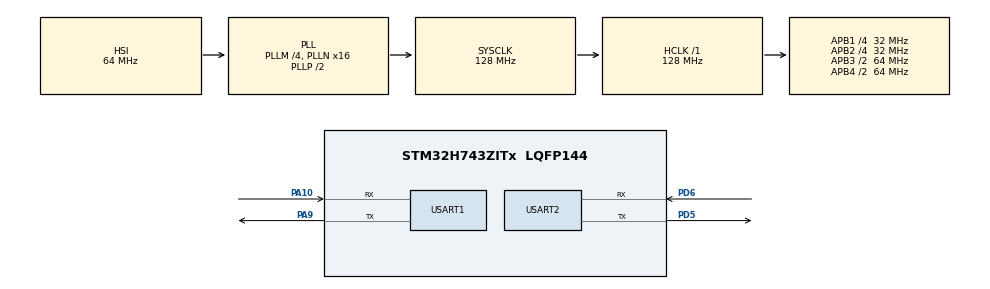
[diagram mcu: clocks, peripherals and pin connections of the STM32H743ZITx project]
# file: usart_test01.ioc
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CORTEX_M7.default_mode_Activation=1
Mcu.Family=STM32H7
Mcu.Name=STM32H743ZITx
Mcu.Package=LQFP144
NVIC.PriorityGroup=NVIC_PRIORITYGROUP_4
PA10.Mode=Asynchronous
PA10.Signal=USART1_RX
PA9.Mode=Asynchronous
PA9.Signal=USART1_TX
PD5.Mode=Asynchronous
PD5.Signal=USART2_TX
PD6.Mode=Asynchronous
PD6.Signal=USART2_RX
PH0-OSC_IN\ (PH0).Mode=HSE-External-Oscillator
PH0-OSC_IN\ (PH0).Signal=RCC_OSC_IN
PH1-OSC_OUT\ (PH1).Mode=HSE-External-Oscillator
PH1-OSC_OUT\ (PH1).Signal=RCC_OSC_OUT
ProjectManager.HeapSize=0x200
ProjectManager.StackSize=0x400
ProjectManager.TargetToolchain=MDK-ARM V5.32
RCC.ADCFreq_Value=129000000
RCC.APB1Freq_Value=32000000
RCC.APB2Freq_Value=32000000
RCC.APB3Freq_Value=64000000
RCC.APB4Freq_Value=64000000
RCC.CortexFreq_Value=128000000
RCC.D1PPRE=RCC_APB3_DIV2
RCC.D2PPRE1=RCC_APB1_DIV4
RCC.D2PPRE2=RCC_APB2_DIV4
RCC.D3PPRE=RCC_APB4_DIV2
RCC.DIVM1=4
RCC.DIVN1=16
RCC.HCLKFreq_Value=128000000
RCC.PLL2FRACN=0
RCC.PLL3FRACN=0
RCC.PLLFRACN=0
RCC.SYSCLKFreq_VALUE=128000000
RCC.SYSCLKSource=RCC_SYSCLKSOURCE_PLLCLK
RCC.USBFreq_Value=128000000
USART1.VirtualMode-Asynchronous=VM_ASYNC
USART2.VirtualMode-Asynchronous=VM_ASYNC
VP_MEMORYMAP_VS_MEMORYMAP.Mode=CurAppReg
board=custom

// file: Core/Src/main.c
/* USER CODE BEGIN Header */
/**
  ******************************************************************************
  * @file           : main.c
  * @brief          : Main program body
  ******************************************************************************
  * @attention
  *
  * Copyright (c) 2026 STMicroelectronics.
  * All rights reserved.
  *
  * This software is licensed under terms that can be found in the LICENSE file
  * in the root directory of this software component.
  * If no LICENSE file comes with this software, it is provided AS-IS.
  *
  ******************************************************************************
  */
/* USER CODE END Header */
#include "main.h"
#include "memorymap.h"
#include "usart.h"
#include "gpio.h"

/* USER CODE BEGIN Includes */
#include <stdarg.h>
#include <stdio.h>
#include <string.h>
/* USER CODE END Includes */

/* USER CODE BEGIN PD */
/* ==================================================================
   串口测试固件 —— 给 SerialLab / VOFA+ / 任意串口助手做「可解析数据源」
   接口参数（上位机必须与这里一致）：
     波特率 115200 · 数据位 8 · 无校验 · 停止位 1 · 无流控   (8-N-1)
     输出编码：纯 ASCII（不带中文），每行以 CR LF 结尾
     数据格式：key=value，同一行多组用逗号分隔，一行一个采样点
   引脚：
     USART1  PA9 = TX   PA10 = RX     <- 默认用这个
     USART2  PD5 = TX   PD6 = RX
   ================================================================== */

/* 调试串口：默认 USART1；想只换到 USART2 就把 huart1 改成 huart2 */
#define DBG_UART        (&huart1)

/* 改成 0 可关掉「双路同发」，只走 DBG_UART。
   为什么默认开：测试固件最容易卡住的失败模式就是「线接在 USART2 上，
   而固件只往 USART1 打」——上位机那时只会收到悬空引脚的噪声，
   看起来像「固件没跑」或「波特率不对」，排查会绕很大一圈。
   两路同发时，只有真正连着电脑的那一路会被读到，不会互相干扰。 */
#define DBG_UART_BOTH   1

/* 原样回发（验证 RX 通路 / 网页端「发送」）改成了**运行时开关**：
   以前要改这个宏再重编译，现在直接发一行 `set echo=1`（见下面的在线调参说明）。
   少一个编译期开关 = 少一处「改了宏忘了重烧」的坑。 */

/* 打印周期（ms）。10 Hz 足够绘图，单行也短，对解析器压力小。 */
#define DBG_PERIOD_MS   100

/* ==================================================================
   在线调参（RX 通路）—— 为什么值得有：
     改一个参数原本要「重编译 + 烧录 + 人工点 Keil」，一轮半分钟起；
     支持串口改参数之后，一轮迭代变成「发一行 → 立刻看数据」，
     AI 也才可能自己扫参（否则每改一次都要人参与烧录）。
   命令（行尾给 \n 即生效；大小写不敏感只看首字母的写法见 uart_cmd）：
     set period=200      打印周期 ms（10..5000）
     set step=100        位置阶跃周期，单位「拍」（1..10000）
     set curdiv=4        电流 = 位置误差 / 这个数（1..1000，越大电流越小）
     set poslo=1000      阶跃低目标（编码器计数）
     set poshi=3500      阶跃高目标
     set echo=1          1 = 把收到的字节原样回发（纯 RX 通路/接线自检）
     get                 读回全部参数
   回包一律是「key=value 且值都是数字」的一行 —— 例如
     cmd_get=1,period=100,step=50,curdiv=2,poslo=500,poshi=4000
   ⚠ 值刻意全用数字：一旦出现 name=period 这种非数值对，上位机就会
     建出一个永远没有数值的通道（甚至算进解析失败），反而污染判据。
   ⚠ RX 必须走中断：主循环每 100ms 才转一圈，而 115200 下一个字节只要 87us，
     轮询必然丢字节（收不全命令 = 调参看起来「没反应」）。
   ================================================================== */
#define RX_RING_SZ      128           /* 中断写入、主循环排空 */
#define RX_LINE_MAX     64
/* USER CODE END PD */

/* USER CODE BEGIN PV */
static uint32_t dbg_next_ms = 0;      /* 下一次打印的时刻（HAL_GetTick 口径） */
static int32_t  dbg_pos     = 500;    /* 位置环当前值（模拟编码器计数） */

/* ---- 可在线改的参数（`set` 改的就是这几个；默认值 = 出厂行为）---- */
static volatile uint32_t g_period_ms  = DBG_PERIOD_MS;
static volatile uint32_t g_step_ticks = 50U;    /* 位置阶跃周期（拍） */
static volatile int32_t  g_cur_div    = 2;      /* 电流 = err / g_cur_div */
static volatile int32_t  g_pos_lo     = 500;
static volatile int32_t  g_pos_hi     = 4000;
static volatile int32_t  g_echo       = 0;      /* 1 = 原样回发收到的字节 */
static volatile uint32_t g_rx_bytes   = 0;      /* RX 收到的总字节数（自诊断，随数据行上报） */

/* ---- RX：中断只负责把字节塞进环形缓冲，攒行与回显都在主循环 ----
   （中断里绝不调用阻塞发送：HAL_UART_Transmit 带超时，在 ISR 里会把中断拖死） */
static volatile uint8_t  g_rx_ring[RX_RING_SZ];
static volatile uint16_t g_rx_head = 0;         /* 中断写 */
static volatile uint16_t g_rx_tail = 0;         /* 主循环读 */
static volatile uint8_t  g_rx1_byte = 0;
static volatile uint8_t  g_rx2_byte = 0;

static char    rx_line[RX_LINE_MAX];
static uint16_t rx_len = 0;
/* USER CODE END PV */

void SystemClock_Config(void);
static void MPU_Config(void);

/* USER CODE BEGIN 0 */
/* ------------------------------------------------------------------
   极简调试打印：不重定向 printf、不依赖半主机（semihosting）。
   直接用 HAL 阻塞发送，烧进去就能从串口出字。
   ⚠ 本工程 Keil 勾了 MicroLIB（<useUlib>1</useUlib>），MicroLIB 的
     vsnprintf 不支持 %f —— 所以一律用整数 + 手工小数点，别改成 %f。
   输出格式与 SerialLab 的 FireWater 预设一致（seps = ["=", ":"]）。
   ------------------------------------------------------------------ */
static char dbg_buf[128];

static void DBG(const char *fmt, ...)
{
  va_list ap;
  int n;

  va_start(ap, fmt);
  n = vsnprintf(dbg_buf, sizeof(dbg_buf), fmt, ap);
  va_end(ap);

  if (n <= 0)
  {
    return;
  }
  if (n > (int)sizeof(dbg_buf) - 1)
  {
    n = (int)sizeof(dbg_buf) - 1;     /* 截断，绝不发出缓冲区之外的字节 */
  }
  (void)HAL_UART_Transmit(DBG_UART, (uint8_t *)dbg_buf, (uint16_t)n, 200);
#if DBG_UART_BOTH
  /* 同一份数据再走另一路：线接在 USART1 还是 USART2 都能读到。
     两路是两个独立外设、各自 115200，不会互相拖慢；只有实连电脑的那路会被看到。
     （若 DBG_UART 已被改成 huart2，就不要重复发第二遍。） */
  if (DBG_UART != &huart2)
  {
    (void)HAL_UART_Transmit(&huart2, (uint8_t *)dbg_buf, (uint16_t)n, 200);
  }
#endif
}
/* ------------------------------------------------------------------
   RX：中断侧只把字节塞进环形缓冲，攒行与回显都留给主循环。
   为什么中断里不发数据：HAL_UART_Transmit 是带超时的阻塞调用，
   在 ISR 里用会把中断拖住（而且与主循环的打印抢同一个外设）。
   ------------------------------------------------------------------ */
static void rx_isr_push(uint8_t b)
{
  uint16_t next = (uint16_t)((g_rx_head + 1U) % RX_RING_SZ);
  g_rx_bytes++;                       /* 自诊断：RX 上到底有没有字节进来 */
  if (next != g_rx_tail)              /* 满了就丢最新字节，绝不覆盖还没读走的数据 */
  {
    g_rx_ring[g_rx_head] = b;
    g_rx_head = next;
  }
}

/* ------------------------------------------------------------------
   中断向量到 HAL 的分发。
   ⚠ 本工程的 .ioc **没有勾** NVIC 里的 USART1/USART2 全局中断，于是
     CubeMX 既没在 MspInit 里 HAL_NVIC_EnableIRQ，也没在 stm32h7xx_it.c 里
     生成这两个处理函数 —— 结果 HAL_UART_Receive_IT 永远等不到回调，
     表现是「主机发出去了（桥上 ok=true），但设备像没收到一样」。
     这里手工补齐。若以后在 CubeMX 里勾上「USART1 global interrupt」，
     ⚠ 必须保持**强定义、不加 __weak**：启动文件 startup_stm32h743xx.s 里的同名函数
     本身就是 weak 桩，一旦这里也写 __weak，链接器会在两个 weak 之间选启动文件那个
     （通常是死循环），RX 一收字节就挂 —— 实测踩过，编译日志会报 L6439W。
     ⚠ 另：**不要在 CubeMX 里勾 USART 全局中断**。本工程的中断使能与处理函数都写在
     USER CODE 里（CubeMX 不会动 USER CODE），不勾它 CubeMX 就不会生成同名函数，
     也就永远不会重复定义。若你确实想让 CubeMX 生成，请先删掉这一段与下面
     HAL_NVIC_EnableIRQ 两句，再勾选重新生成。
   ------------------------------------------------------------------ */
void USART1_IRQHandler(void)
{
  HAL_UART_IRQHandler(&huart1);
}

void USART2_IRQHandler(void)
{
  HAL_UART_IRQHandler(&huart2);
}

static int rx_pop(uint8_t *out)
{
  if (g_rx_tail == g_rx_head)
  {
    return 0;
  }
  *out = g_rx_ring[g_rx_tail];
  g_rx_tail = (uint16_t)((g_rx_tail + 1U) % RX_RING_SZ);
  return 1;
}

void HAL_UART_RxCpltCallback(UART_HandleTypeDef *huart)
{
  if (huart->Instance == USART1)
  {
    rx_isr_push(g_rx1_byte);
    (void)HAL_UART_Receive_IT(&huart1, (uint8_t *)&g_rx1_byte, 1);
  }
  else if (huart->Instance == USART2)
  {
    rx_isr_push(g_rx2_byte);
    (void)HAL_UART_Receive_IT(&huart2, (uint8_t *)&g_rx2_byte, 1);
  }
}

/* 十进制整数（可选负号）；成功返回 1。不用 sscanf：MicroLIB 下没必要绕那一圈。 */
static int parse_i32(const char *s, int32_t *out)
{
  int32_t v = 0;
  int     neg = 0;

  if (*s == '-') { neg = 1; s++; }
  if (*s < '0' || *s > '9') { return 0; }
  while (*s >= '0' && *s <= '9')
  {
    v = v * 10 + (int32_t)(*s - '0');
    if (v > 1000000) { v = 1000000; }     /* 先夹住，避免溢出后变成负数 */
    s++;
  }
  *out = neg ? -v : v;
  return 1;
}

/* 前三个字母不区分大小写：上位机顺手敲 `SET` 还是 `set` 都得认 */
static int ci_eq3(const char *s, char a, char b, char c)
{
  return (s[0] == a || s[0] == (char)(a - 32)) &&
         (s[1] == b || s[1] == (char)(b - 32)) &&
         (s[2] == c || s[2] == (char)(c - 32));
}

/* ------------------------------------------------------------------
   处理一行命令。回包刻意「全部是数字」：一旦出现 name=period 这种
   非数值对，上位机会建出一个永远没有数值的通道（甚至算进解析失败），
   把判据一起带脏。
   ------------------------------------------------------------------ */
static void uart_cmd(char *line)
{
  char   *eq;
  char   *val;
  char   *name;
  int32_t v;

  if (line[0] == '\0') { return; }        /* 空行不回答（回车上常多一个 \n） */

  /* ---------------- get ---------------- */
  if (ci_eq3(line, 'g', 'e', 't'))
  {
    DBG("cmd_get=1,period=%lu,step=%lu,curdiv=%ld,poslo=%ld,poshi=%ld,echo=%ld\r\n",
        (unsigned long)g_period_ms, (unsigned long)g_step_ticks,
        (long)g_cur_div, (long)g_pos_lo, (long)g_pos_hi, (long)g_echo);
    return;
  }

  /* ---------------- set name=value ---------------- */
  if (ci_eq3(line, 's', 'e', 't'))
  {
    name = line + 3;
    while (*name == ' ') { name++; }
    eq = strchr(name, '=');
    if (eq == NULL) { DBG("cmd_set=0,why=1\r\n"); return; }        /* why=1: 缺 key=value */
    *eq = '\0';
    val = eq + 1;
    if (!parse_i32(val, &v)) { DBG("cmd_set=0,why=2\r\n"); return; }  /* why=2: 值不是整数 */

    if (strcmp(name, "period") == 0)
    {
      if (v < 10) { v = 10; }
      if (v > 5000) { v = 5000; }
      g_period_ms = (uint32_t)v;
      DBG("cmd_set=1,period=%ld\r\n", (long)v);
    }
    else if (strcmp(name, "step") == 0)
    {
      if (v < 1) { v = 1; }
      if (v > 10000) { v = 10000; }
      g_step_ticks = (uint32_t)v;
      DBG("cmd_set=1,step=%ld\r\n", (long)v);
    }
    else if (strcmp(name, "curdiv") == 0)
    {
      if (v < 1) { v = 1; }              /* 除零保护：它是除数 */
      if (v > 1000) { v = 1000; }
      g_cur_div = v;
      DBG("cmd_set=1,curdiv=%ld\r\n", (long)v);
    }
    else if (strcmp(name, "poslo") == 0)
    {
      if (v < -100000) { v = -100000; }
      if (v >  100000) { v =  100000; }
      g_pos_lo = v;
      DBG("cmd_set=1,poslo=%ld\r\n", (long)v);
    }
    else if (strcmp(name, "poshi") == 0)
    {
      if (v < -100000) { v = -100000; }
      if (v >  100000) { v =  100000; }
      g_pos_hi = v;
      DBG("cmd_set=1,poshi=%ld\r\n", (long)v);
    }
    else if (strcmp(name, "echo") == 0)
    {
      g_echo = (v != 0) ? 1 : 0;
      DBG("cmd_set=1,echo=%ld\r\n", (long)g_echo);
    }
    else
    {
      DBG("cmd_set=0,why=3\r\n");        /* why=3: 不认识这个参数名 */
    }
    return;
  }

  DBG("cmd_unknown=1\r\n");
}
/* USER CODE END 0 */

int main(void)
{

  /* MPU Configuration--------------------------------------------------------*/
  MPU_Config();

  /* MCU Configuration--------------------------------------------------------*/

  /* Reset of all peripherals, Initializes the Flash interface and the Systick. */
  HAL_Init();

  /* Configure the system clock */
  SystemClock_Config();

  /* Initialize all configured peripherals */
  MX_GPIO_Init();
  MX_USART1_UART_Init();
  MX_USART2_UART_Init();
  /* USER CODE BEGIN 2 */
  /* 上电横幅：故意不含 '=' 和 ':'，避免被文本解析器当成通道建出来。
     纯 ASCII，不含中文 —— 所以上位机用什么编码都能读对。 */
  DBG("\r\n--- usart_test01 / STM32H743ZIT6 ---\r\n");
  DBG("--- port: USART1 PA9(TX) PA10(RX) / 115200 8N1 ---\r\n");
  DBG("--- data: key=value, 10 Hz, one line per sample ---\r\n");
  DBG("--- type GET for params, SET for tuning (see main.c header) ---\r\n");

  /* RX 走中断：主循环 100ms 才转一圈，而 115200 下一个字节只要 87us，
     轮询必然丢字节（收不全命令 = 调参看起来「没反应」）。两路都开：
     打印是双路同发，上位机可能接在任意一路。
     ⚠ CubeMX 的 .ioc 没勾 NVIC，所以这里必须自己使能（否则中断永不来，
       桥上 write 报 ok=true 而设备毫无反应 —— 这个坑已写在中断分发那段注释里）。 */
  HAL_NVIC_SetPriority(USART1_IRQn, 5, 0);
  HAL_NVIC_EnableIRQ(USART1_IRQn);
  HAL_NVIC_SetPriority(USART2_IRQn, 5, 0);
  HAL_NVIC_EnableIRQ(USART2_IRQn);
  (void)HAL_UART_Receive_IT(&huart1, (uint8_t *)&g_rx1_byte, 1);
  (void)HAL_UART_Receive_IT(&huart2, (uint8_t *)&g_rx2_byte, 1);

  dbg_next_ms = HAL_GetTick() + DBG_PERIOD_MS;
  /* USER CODE END 2 */

  /* Infinite loop */
  while (1)
  {

    /* USER CODE BEGIN 3 */
    {
      /* 全部声明放在块首：不依赖 C99 的「语句后声明」，AC5/AC6 都安全 */
      uint32_t now;
      uint32_t n;
      uint32_t ph;
      uint32_t period;
      uint32_t step_ticks;
      int32_t  target;
      int32_t  err;
      int32_t  cur_ma;
      int32_t  temp_dc;
      int32_t  tri;
      int32_t  rpm;
      int32_t  div;
      uint8_t  b;

      /* ---- RX：把中断收进来的字节排空 ----
         放在主循环顶部而不是打印节拍里：命令要尽快处理，不能干等最多 100ms。
         回显（set echo=1）也在这里做 —— 中断里绝不调用阻塞发送。 */
      while (rx_pop(&b))
      {
        if (g_echo)
        {
          (void)HAL_UART_Transmit(DBG_UART, &b, 1, 10);
        }
        if (b == '\n')
        {
          rx_line[rx_len] = '\0';
          uart_cmd(rx_line);
          rx_len = 0;
        }
        else if (b != '\r')
        {
          if (rx_len < (uint16_t)(RX_LINE_MAX - 1))
          {
            rx_line[rx_len++] = (char)b;
          }
          else
          {
            rx_len = 0;              /* 行太长：丢掉重来，绝不溢出缓冲 */
          }
        }
      }

      now = HAL_GetTick();
      period = g_period_ms;
      if (period < 10U) { period = 10U; }        /* 双保险：SET 已夹过，这里再兜一层 */
      if ((int32_t)(now - dbg_next_ms) >= 0)
      {
        dbg_next_ms = now + period;

        n          = now / period;                         /* 拍序号 */
        step_ticks = g_step_ticks;
        if (step_ticks < 1U) { step_ticks = 1U; }          /* 它是除数 */
        target = ((n / step_ticks) & 1U) ? g_pos_hi : g_pos_lo;   /* 位置阶跃 */

        /* ① 位置：整数一阶趋近，模拟位置环阶跃响应 */
        dbg_pos += (target - dbg_pos) / 4;
        err      = target - dbg_pos;

        /* ② 转速：三角波 0..3000，周期约 5 s */
        ph  = (n * 255U / 50U) & 0xFFU;
        tri = (ph < 128U) ? (int32_t)(ph * 3000U / 128U)
                          : (int32_t)((255U - ph) * 3000U / 128U);
        rpm = tri;

        /* ③ 电流(mA)：与位置误差成正比（模拟 P 控制输出）+ 一点固定纹波 */
        div = g_cur_div;
        if (div < 1) { div = 1; }                          /* 除零保护 */
        cur_ma = 500 + err / div;
        if (cur_ma < 0)
        {
          cur_ma = -cur_ma;
        }
        cur_ma += (int32_t)(n % 4U) * 10;

        /* ④ 温度：25.0 ℃ 起，每拍 +0.05 ℃，40 s 一个循环 */
        temp_dc = 250 + (int32_t)((n % 400U) / 2U);

        /* 一行一组，key=value，逗号分隔 —— 与 SerialLab 的 FireWater 预设
           （seps = ["=", ":"]）零配置对接；小数用整数拼，绕开 MicroLIB 无 %f
           rx = 从主机收到的累计字节数：它一直是 0 就说明「RX 方向没通」
           （接线只有 TX/GND、或对端没真发出去），不用再靠猜。 */
        DBG("tick=%lu,pos=%ld,rpm=%ld,cur=%ld.%02ld,temp=%ld.%ld,rx=%lu\r\n",
            (unsigned long)now,
            (long)dbg_pos,
            (long)rpm,
            (long)(cur_ma / 1000), (long)((cur_ma % 1000) / 10),
            (long)(temp_dc / 10),  (long)(temp_dc % 10),
            (unsigned long)g_rx_bytes);
      }
    }
  }
  /* USER CODE END 3 */
}

void SystemClock_Config(void)
{
  RCC_OscInitTypeDef RCC_OscInitStruct = {0};
  RCC_ClkInitTypeDef RCC_ClkInitStruct = {0};

  /** Supply configuration update enable
  */
  HAL_PWREx_ConfigSupply(PWR_LDO_SUPPLY);

  /** Configure the main internal regulator output voltage
  */
  __HAL_PWR_VOLTAGESCALING_CONFIG(PWR_REGULATOR_VOLTAGE_SCALE3);

  while(!__HAL_PWR_GET_FLAG(PWR_FLAG_VOSRDY)) {}

  /** Initializes the RCC Oscillators according to the specified parameters
  * in the RCC_OscInitTypeDef structure.
  */
  RCC_OscInitStruct.OscillatorType = RCC_OSCILLATORTYPE_HSI;
  RCC_OscInitStruct.HSIState = RCC_HSI_DIV1;
  RCC_OscInitStruct.HSICalibrationValue = RCC_HSICALIBRATION_DEFAULT;
  RCC_OscInitStruct.PLL.PLLState = RCC_PLL_ON;
  RCC_OscInitStruct.PLL.PLLSource = RCC_PLLSOURCE_HSI;
  RCC_OscInitStruct.PLL.PLLM = 4;
  RCC_OscInitStruct.PLL.PLLN = 16;
  RCC_OscInitStruct.PLL.PLLP = 2;
  RCC_OscInitStruct.PLL.PLLQ = 2;
  RCC_OscInitStruct.PLL.PLLR = 2;
  RCC_OscInitStruct.PLL.PLLRGE = RCC_PLL1VCIRANGE_3;
  RCC_OscInitStruct.PLL.PLLVCOSEL = RCC_PLL1VCOWIDE;
  RCC_OscInitStruct.PLL.PLLFRACN = 0;
  if (HAL_RCC_OscConfig(&RCC_OscInitStruct) != HAL_OK)
  {
    Error_Handler();
  }

  /** Initializes the CPU, AHB and APB buses clocks
  */
  RCC_ClkInitStruct.ClockType = RCC_CLOCKTYPE_HCLK|RCC_CLOCKTYPE_SYSCLK
                              |RCC_CLOCKTYPE_PCLK1|RCC_CLOCKTYPE_PCLK2
                              |RCC_CLOCKTYPE_D3PCLK1|RCC_CLOCKTYPE_D1PCLK1;
  RCC_ClkInitStruct.SYSCLKSource = RCC_SYSCLKSOURCE_PLLCLK;
  RCC_ClkInitStruct.SYSCLKDivider = RCC_SYSCLK_DIV1;
  RCC_ClkInitStruct.AHBCLKDivider = RCC_HCLK_DIV1;
  RCC_ClkInitStruct.APB3CLKDivider = RCC_APB3_DIV2;
  RCC_ClkInitStruct.APB1CLKDivider = RCC_APB1_DIV4;
  RCC_ClkInitStruct.APB2CLKDivider = RCC_APB2_DIV4;
  RCC_ClkInitStruct.APB4CLKDivider = RCC_APB4_DIV2;

  if (HAL_RCC_ClockConfig(&RCC_ClkInitStruct, FLASH_LATENCY_2) != HAL_OK)
  {
    Error_Handler();
  }
}

 /* MPU Configuration */

void MPU_Config(void)
{
  MPU_Region_InitTypeDef MPU_InitStruct = {0};

  /* Disables the MPU */
  HAL_MPU_Disable();

  /** Initializes and configures the Region and the memory to be protected
  */
  MPU_InitStruct.Enable = MPU_REGION_ENABLE;
  MPU_InitStruct.Number = MPU_REGION_NUMBER0;
  MPU_InitStruct.BaseAddress = 0x0;
  MPU_InitStruct.Size = MPU_REGION_SIZE_4GB;
  MPU_InitStruct.SubRegionDisable = 0x87;
  MPU_InitStruct.TypeExtField = MPU_TEX_LEVEL0;
  MPU_InitStruct.AccessPermission = MPU_REGION_NO_ACCESS;
  MPU_InitStruct.DisableExec = MPU_INSTRUCTION_ACCESS_DISABLE;
  MPU_InitStruct.IsShareable = MPU_ACCESS_SHAREABLE;
  MPU_InitStruct.IsCacheable = MPU_ACCESS_NOT_CACHEABLE;
  MPU_InitStruct.IsBufferable = MPU_ACCESS_NOT_BUFFERABLE;

  HAL_MPU_ConfigRegion(&MPU_InitStruct);
  /* Enables the MPU */
  HAL_MPU_Enable(MPU_PRIVILEGED_DEFAULT);

}

void Error_Handler(void)
{
  __disable_irq();
  while (1)
  {
  }
}
